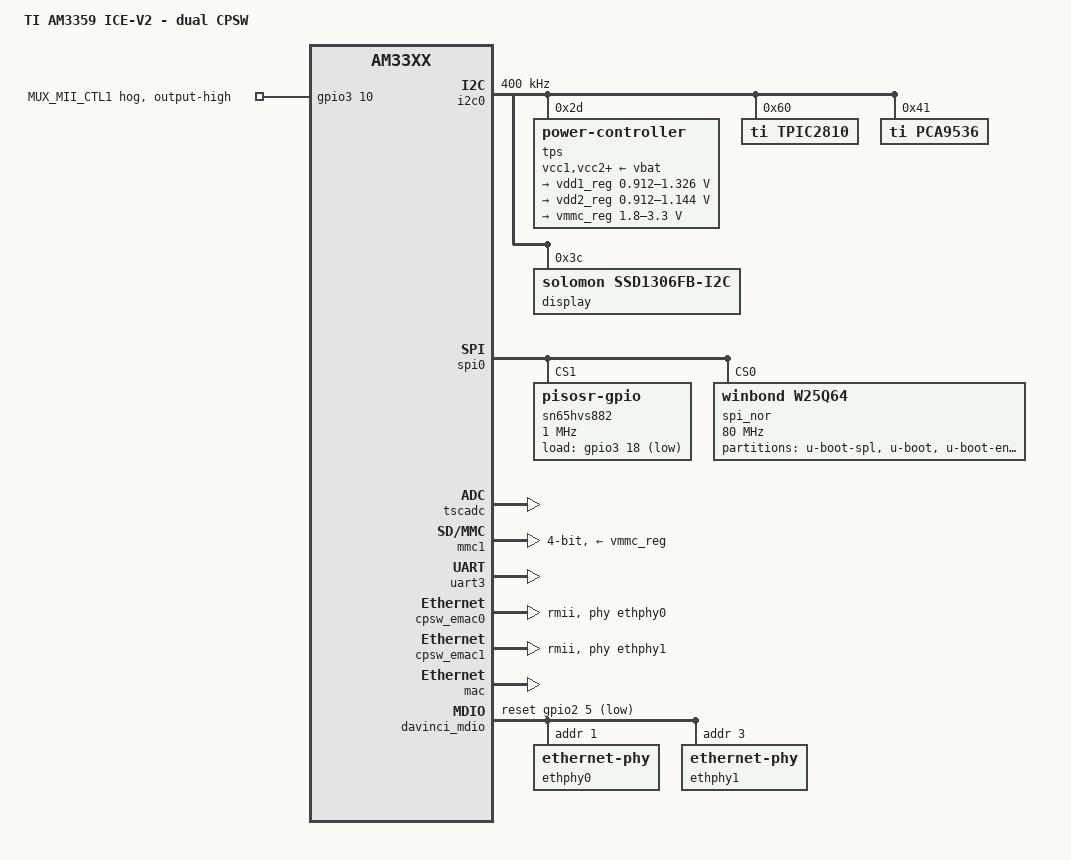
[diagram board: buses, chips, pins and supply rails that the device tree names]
/* SPDX-License-Identifier: GPL-2.0 */
/*
 * Copyright (C) 2016-2019 Texas Instruments Incorporated - http://www.ti.com/
 */

/dts-v1/;

#include "am335x-icev2-common.dtsi"

/ {
	model = "TI AM3359 ICE-V2 - dual CPSW";
	compatible = "ti,am3359-icev2", "ti,am33xx";

	aliases {
		ethernet0 = &cpsw_emac0;
		ethernet1 = &cpsw_emac1;
	};
};

&am33xx_pinmux {
	cpsw_default: cpsw_default {
		pinctrl-single,pins = <
			/* Slave 1, RMII mode */
			AM33XX_IOPAD(0x90c, (PIN_INPUT_PULLUP | MUX_MODE1))	/* mii1_crs.rmii1_crs_dv */
			AM33XX_IOPAD(0x944, (PIN_INPUT_PULLUP | MUX_MODE0))	/* rmii1_refclk.rmii1_refclk */
			AM33XX_IOPAD(0x940, (PIN_INPUT_PULLUP | MUX_MODE1))	/* mii1_rxd0.rmii1_rxd0 */
			AM33XX_IOPAD(0x93c, (PIN_INPUT_PULLUP | MUX_MODE1))	/* mii1_rxd1.rmii1_rxd1 */
			AM33XX_IOPAD(0x910, (PIN_INPUT_PULLUP | MUX_MODE1))	/* mii1_rxerr.rmii1_rxerr */
			AM33XX_IOPAD(0x928, (PIN_OUTPUT_PULLDOWN | MUX_MODE1))	/* mii1_txd0.rmii1_txd0 */
			AM33XX_IOPAD(0x924, (PIN_OUTPUT_PULLDOWN | MUX_MODE1))	/* mii1_txd1.rmii1_txd1 */
			AM33XX_IOPAD(0x914, (PIN_OUTPUT_PULLDOWN | MUX_MODE1))	/* mii1_txen.rmii1_txen */
			/* Slave 2, RMII mode */
			AM33XX_IOPAD(0x870, (PIN_INPUT_PULLUP | MUX_MODE3))	/* gpmc_wait0.rmii2_crs_dv */
			AM33XX_IOPAD(0x908, (PIN_INPUT_PULLUP | MUX_MODE1))	/* mii1_col.rmii2_refclk */
			AM33XX_IOPAD(0x86c, (PIN_INPUT_PULLUP | MUX_MODE3))	/* gpmc_a11.rmii2_rxd0 */
			AM33XX_IOPAD(0x868, (PIN_INPUT_PULLUP | MUX_MODE3))	/* gpmc_a10.rmii2_rxd1 */
			AM33XX_IOPAD(0x874, (PIN_INPUT_PULLUP | MUX_MODE3))	/* gpmc_wpn.rmii2_rxerr */
			AM33XX_IOPAD(0x854, (PIN_OUTPUT_PULLDOWN | MUX_MODE3))	/* gpmc_a5.rmii2_txd0 */
			AM33XX_IOPAD(0x850, (PIN_OUTPUT_PULLDOWN | MUX_MODE3))	/* gpmc_a4.rmii2_txd1 */
			AM33XX_IOPAD(0x840, (PIN_OUTPUT_PULLDOWN | MUX_MODE3))	/* gpmc_a0.rmii2_txen */
		>;
	};

	cpsw_sleep: cpsw_sleep {
		pinctrl-single,pins = <
			/* Slave 1 reset value */
			AM33XX_IOPAD(0x90c, (PIN_INPUT_PULLDOWN | MUX_MODE7))
			AM33XX_IOPAD(0x944, (PIN_INPUT_PULLDOWN | MUX_MODE7))
			AM33XX_IOPAD(0x940, (PIN_INPUT_PULLDOWN | MUX_MODE7))
			AM33XX_IOPAD(0x93c, (PIN_INPUT_PULLDOWN | MUX_MODE7))
			AM33XX_IOPAD(0x910, (PIN_INPUT_PULLDOWN | MUX_MODE7))
			AM33XX_IOPAD(0x928, (PIN_INPUT_PULLDOWN | MUX_MODE7))
			AM33XX_IOPAD(0x924, (PIN_INPUT_PULLDOWN | MUX_MODE7))
			AM33XX_IOPAD(0x914, (PIN_INPUT_PULLDOWN | MUX_MODE7))

			/* Slave 2 reset value */
			AM33XX_IOPAD(0x870, (PIN_INPUT_PULLDOWN | MUX_MODE7))
			AM33XX_IOPAD(0x908, (PIN_INPUT_PULLDOWN | MUX_MODE7))
			AM33XX_IOPAD(0x86c, (PIN_INPUT_PULLDOWN | MUX_MODE7))
			AM33XX_IOPAD(0x868, (PIN_INPUT_PULLDOWN | MUX_MODE7))
			AM33XX_IOPAD(0x874, (PIN_INPUT_PULLDOWN | MUX_MODE7))
			AM33XX_IOPAD(0x854, (PIN_INPUT_PULLDOWN | MUX_MODE7))
			AM33XX_IOPAD(0x850, (PIN_INPUT_PULLDOWN | MUX_MODE7))
			AM33XX_IOPAD(0x840, (PIN_INPUT_PULLDOWN | MUX_MODE7))
		>;
	};

	davinci_mdio_default: davinci_mdio_default {
		pinctrl-single,pins = <
			/* MDIO */
			AM33XX_IOPAD(0x948, (PIN_INPUT_PULLUP | SLEWCTRL_FAST | MUX_MODE0))	/* mdio_data.mdio_data */
			AM33XX_IOPAD(0x94c, (PIN_OUTPUT_PULLUP | MUX_MODE0))			/* mdio_clk.mdio_clk */
		>;
	};

	davinci_mdio_sleep: davinci_mdio_sleep {
		pinctrl-single,pins = <
			/* MDIO reset value */
			AM33XX_IOPAD(0x948, (PIN_INPUT_PULLDOWN | MUX_MODE7))
			AM33XX_IOPAD(0x94c, (PIN_INPUT_PULLDOWN | MUX_MODE7))
		>;
	};
};

&i2c0 {
	pinctrl-names = "default";
	pinctrl-0 = <&i2c0_pins_default>;

	status = "okay";
	clock-frequency = <400000>;

	tps: power-controller@2d {
		reg = <0x2d>;
	};

	tpic2810: gpio@60 {
		compatible = "ti,tpic2810";
		reg = <0x60>;
		gpio-controller;
		#gpio-cells = <2>;
	};

	pca9536: gpio@41 {
		compatible = "ti,pca9536";
		reg = <0x41>;
		gpio-controller;
		#gpio-cells = <2>;
	};

	/* osd9616p0899-10 */
	display@3c {
		compatible = "solomon,ssd1306fb-i2c";
		reg = <0x3c>;
		solomon,height = <16>;
		solomon,width = <96>;
		solomon,com-seq;
		solomon,com-invdir;
		solomon,page-offset = <0>;
		solomon,prechargep1 = <2>;
		solomon,prechargep2 = <13>;
	};
};

&spi0 {
	status = "okay";
	pinctrl-names = "default";
	pinctrl-0 = <&spi0_pins_default>;

	sn65hvs882@1 {
		compatible = "pisosr-gpio";
		gpio-controller;
		#gpio-cells = <2>;

		load-gpios = <&gpio3 18 GPIO_ACTIVE_LOW>;

		reg = <1>;
		spi-max-frequency = <1000000>;
		spi-cpol;
	};

	spi_nor: flash@0 {
		#address-cells = <1>;
		#size-cells = <1>;
		compatible = "winbond,w25q64", "jedec,spi-nor";
		spi-max-frequency = <80000000>;
		m25p,fast-read;
		reg = <0>;

		partition@0 {
			label = "u-boot-spl";
			reg = <0x0 0x80000>;
			read-only;
		};

		partition@1 {
			label = "u-boot";
			reg = <0x80000 0x100000>;
			read-only;
		};

		partition@2 {
			label = "u-boot-env";
			reg = <0x180000 0x20000>;
			read-only;
		};

		partition@3 {
			label = "misc";
			reg = <0x1A0000 0x660000>;
		};
	};

};

&tscadc {
	status = "okay";
	adc {
		ti,adc-channels = <1 2 3 4 5 6 7>;
	};
};

#include "tps65910.dtsi"

&tps {
	vcc1-supply = <&vbat>;
	vcc2-supply = <&vbat>;
	vcc3-supply = <&vbat>;
	vcc4-supply = <&vbat>;
	vcc5-supply = <&vbat>;
	vcc6-supply = <&vbat>;
	vcc7-supply = <&vbat>;
	vccio-supply = <&vbat>;

	regulators {
		vrtc_reg: regulator@0 {
			regulator-always-on;
		};

		vio_reg: regulator@1 {
			regulator-always-on;
		};

		vdd1_reg: regulator@2 {
			regulator-name = "vdd_mpu";
			regulator-min-microvolt = <912500>;
			regulator-max-microvolt = <1326000>;
			regulator-boot-on;
			regulator-always-on;
		};

		vdd2_reg: regulator@3 {
			regulator-name = "vdd_core";
			regulator-min-microvolt = <912500>;
			regulator-max-microvolt = <1144000>;
			regulator-boot-on;
			regulator-always-on;
		};

		vdd3_reg: regulator@4 {
			regulator-always-on;
		};

		vdig1_reg: regulator@5 {
			regulator-always-on;
		};

		vdig2_reg: regulator@6 {
			regulator-always-on;
		};

		vpll_reg: regulator@7 {
			regulator-always-on;
		};

		vdac_reg: regulator@8 {
			regulator-always-on;
		};

		vaux1_reg: regulator@9 {
			regulator-always-on;
		};

		vaux2_reg: regulator@10 {
			regulator-always-on;
		};

		vaux33_reg: regulator@11 {
			regulator-always-on;
		};

		vmmc_reg: regulator@12 {
			regulator-min-microvolt = <1800000>;
			regulator-max-microvolt = <3300000>;
			regulator-always-on;
		};
	};
};

&mmc1 {
	status = "okay";
	vmmc-supply = <&vmmc_reg>;
	bus-width = <4>;
	pinctrl-names = "default";
	pinctrl-0 = <&mmc0_pins_default>;
};

&gpio0 {
	/* Do not idle the GPIO used for holding the VTT regulator */
	ti,no-reset-on-init;
	ti,no-idle-on-init;
};

&uart3 {
	pinctrl-names = "default";
	pinctrl-0 = <&uart3_pins_default>;
	status = "okay";
};

&gpio3 {
	p10 {
		gpio-hog;
		gpios = <10 GPIO_ACTIVE_HIGH>;
		/* ETH1 mux: Low for MII-PRU, high for RMII-CPSW */
		output-high;
		line-name = "MUX_MII_CTL1";
	};
};

&cpsw_emac0 {
	phy-handle = <&ethphy0>;
	phy-mode = "rmii";
	dual_emac_res_vlan = <1>;
};

&cpsw_emac1 {
	phy-handle = <&ethphy1>;
	phy-mode = "rmii";
	dual_emac_res_vlan = <2>;
};

&mac {
	pinctrl-names = "default", "sleep";
	pinctrl-0 = <&cpsw_default>;
	pinctrl-1 = <&cpsw_sleep>;
	status = "okay";
	dual_emac;
};

&davinci_mdio {
	pinctrl-names = "default", "sleep";
	pinctrl-0 = <&davinci_mdio_default>;
	pinctrl-1 = <&davinci_mdio_sleep>;
	status = "okay";
	reset-gpios = <&gpio2 5 GPIO_ACTIVE_LOW>;
	reset-delay-us = <2>;   /* PHY datasheet states 1uS min */

	ethphy0: ethernet-phy@1 {
		reg = <1>;
	};

	ethphy1: ethernet-phy@3 {
		reg = <3>;
	};
};
